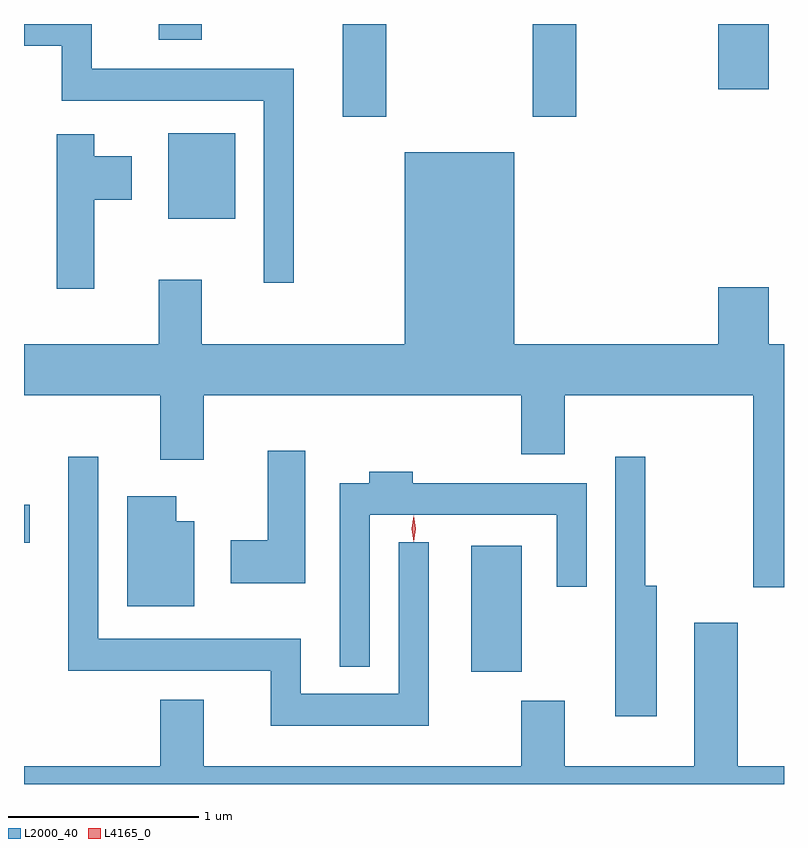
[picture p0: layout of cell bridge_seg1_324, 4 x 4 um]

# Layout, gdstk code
import gdstk
lib = gdstk.Library(unit=1e-6, precision=1e-09)
def R(c, l, rs):  # rectangles x0, y0, x1, y1
    for r in rs: c.add(gdstk.rectangle(r[:2], r[2:], *l))
def P(c, l, *ps):  # polygons
    for p in ps: c.add(gdstk.Polygon(p, *l))
L2000_40 = (2000, 40)
L4165_0 = (4165, 0)

bridge_seg1_324 = lib.new_cell('bridge_seg1_324')
R(bridge_seg1_324, L2000_40, [(933.056,875.921,933.324,876.584), (930.703,876.601,930.734,876.799), (931.461,878.306,931.814,878.754), (932.381,878.841,932.609,879.33), (933.381,878.841,933.609,879.33), (934.356,878.986,934.624,879.33), (931.411,879.246,931.639,879.33)])
P(bridge_seg1_324, L2000_40, [(932.124,879.094),(931.059,879.094),(931.059,879.33),(930.703,879.33),(930.703,879.216),(930.901,879.216),(930.901,878.926),(931.966,878.926),(931.966,877.968),(932.124,877.968)],
  [(931.074,878.406),(931.269,878.406),(931.269,878.634),(931.074,878.634),(931.074,878.749),(930.876,878.749),(930.876,877.936),(931.074,877.936)],
  [(934.703,877.644),(934.624,877.644),(934.624,877.944),(934.356,877.944),(934.356,877.644),(933.284,877.644),(933.284,878.654),(932.706,878.654),(932.706,877.644),(931.639,877.644),(931.639,877.984),(931.411,877.984),(931.411,877.644),(930.703,877.644),(930.703,877.376),(931.421,877.376),(931.421,877.036),(931.649,877.036),(931.649,877.376),(933.321,877.376),(933.321,877.066),(933.549,877.066),(933.549,877.376),(934.541,877.376),(934.541,876.366),(934.703,876.366)],
  [(932.184,877.084),(931.986,877.084),(931.986,876.614),(931.791,876.614),(931.791,876.386),(932.184,876.386)],
  [(934.034,876.374),(933.974,876.374),(933.974,877.053),(933.816,877.053),(933.816,875.686),(934.034,875.686)],
  [(932.834,876.603),(932.676,876.603),(932.676,875.804),(932.159,875.804),(932.159,876.094),(931.094,876.094),(931.094,877.053),(930.936,877.053),(930.936,875.926),(932.001,875.926),(932.001,875.636),(932.834,875.636)],
  [(932.524,876.746),(933.506,876.746),(933.506,876.368),(933.664,876.368),(933.664,876.914),(932.749,876.914),(932.749,876.974),(932.521,876.974),(932.521,876.914),(932.366,876.914),(932.366,875.948),(932.524,875.948)],
  [(931.599,876.714),(931.504,876.714),(931.504,876.844),(931.246,876.844),(931.246,876.266),(931.599,876.266)],
  [(934.703,875.424),(934.459,875.424),(934.459,876.179),(934.231,876.179),(934.231,875.424),(933.549,875.424),(933.549,875.769),(933.321,875.769),(933.321,875.424),(931.649,875.424),(931.649,875.774),(931.421,875.774),(931.421,875.424),(930.703,875.424),(930.703,875.33),(934.703,875.33)])
P(bridge_seg1_324, L4165_0, [(932.755,876.607),(932.754,876.608),(932.745,876.674),(932.754,876.74),(932.755,876.741),(932.755,876.74),(932.765,876.674),(932.755,876.608)],
  [(932.754,876.604),(932.745,876.673),(932.754,876.742),(932.755,876.743),(932.755,876.742),(932.765,876.673),(932.755,876.604),(932.755,876.604)])

lib.write_gds('bridge_seg1_324.gds')
